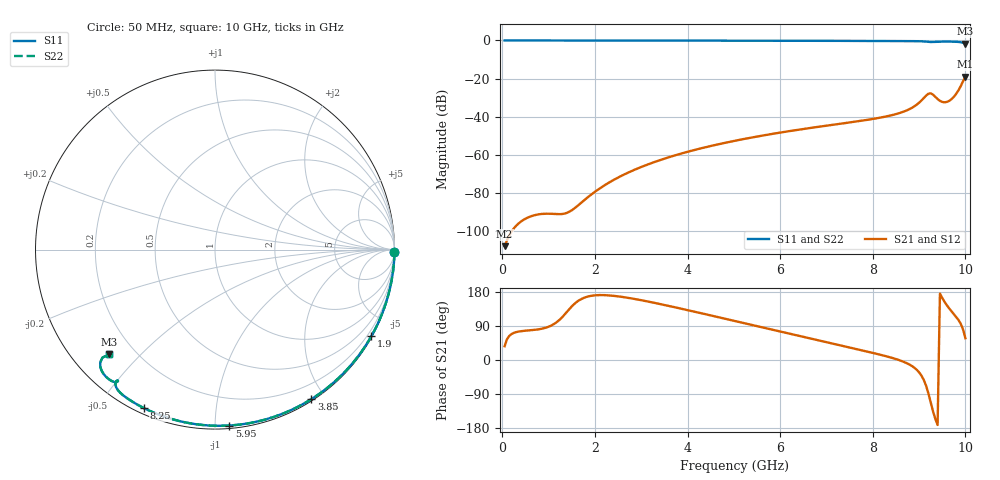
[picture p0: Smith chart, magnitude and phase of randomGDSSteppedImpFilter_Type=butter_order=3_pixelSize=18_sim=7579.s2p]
! freq	dB(S11)	phase(S11)	dB(S12)	phase(S12)
!  dB(S21)	phase(S21)	dB(S22)	phase(S22)
!S-par simulation data
#  GHz  S  DB  R 50
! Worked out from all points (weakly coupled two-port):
!   200 points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, 50 MHz to 10 GHz, reference 50 ohm
!   highest |S21| = -19.01 dB at 10 GHz (marker M1); lowest = -108.1 dB at 50 MHz (marker M2)
!   lowest |S11| = -1.6 dB at 10 GHz (marker M3), VSWR 10.76, Z = 5.43 - j20.4 ohm
!   |S11| at or under -10 dB: nowhere
!   |S22| runs from -1.6 to 0.0 dB; largest |S21 - S12| = 0
!   S11 on the Smith chart (normalised r, x): 50 MHz: open; 1.9 GHz: 0.03, -3.88; 3.85 GHz: 0.02, -1.84; 5.95 GHz: 0.02, -1.08; 8.25 GHz: 0.02, -0.65; 10 GHz: 0.11, -0.41
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0.05  -0.00 -0.8  -108.08 36.2  -108.08 36.2  -0.00 -0.8
1.75  -0.03 -26.7  -84.32 163.4  -84.32 163.4  -0.03 -26.7
1.9  -0.04 -28.9  -81.35 168.9  -81.35 168.9  -0.04 -28.9
2  -0.04 -30.4  -79.52 170.7  -79.52 170.7  -0.04 -30.4
2.65  -0.05 -40.0  -70.20 165.3  -70.20 165.3  -0.05 -40.0
3.4  -0.07 -50.8  -62.91 147.8  -62.91 147.8  -0.07 -50.8
3.85  -0.08 -57.2  -59.52 135.8  -59.52 135.8  -0.08 -57.2
5.05  -0.11 -73.5  -52.57 102.2  -52.57 102.2  -0.11 -73.6
5.95  -0.15 -85.3  -48.61 76.6  -48.61 76.6  -0.15 -85.4
6.7  -0.18 -94.9  -45.81 55.4  -45.81 55.4  -0.18 -94.9
8.25  -0.28 -114.1  -40.13 11.2  -40.13 11.2  -0.28 -114.1
8.35  -0.29 -115.3  -39.62 7.9  -39.62 7.9  -0.29 -115.4
8.65  -0.32 -119.2  -37.55 -4.0  -37.55 -4.0  -0.32 -119.2
8.85  -0.35 -121.9  -35.33 -16.3  -35.33 -16.3  -0.35 -121.9
9  -0.41 -124.2  -32.72 -32.5  -32.72 -32.5  -0.41 -124.2
9.2  -0.73 -126.9  -28.01 -87.6  -28.01 -87.6  -0.74 -126.9
9.3  -0.81 -126.4  -28.43 -135.0  -28.43 -135.0  -0.82 -126.4
9.5  -0.61 -128.3  -32.30 163.6  -32.30 163.6  -0.62 -128.3
9.65  -0.60 -130.6  -31.75 136.2  -31.75 136.2  -0.60 -130.6
9.8  -0.70 -133.3  -28.10 114.1  -28.10 114.1  -0.70 -133.3
9.9  -0.93 -135.4  -23.96 95.3  -23.96 95.3  -0.94 -135.4
10  -1.62 -135.3  -19.01 57.5  -19.01 57.5  -1.62 -135.3
